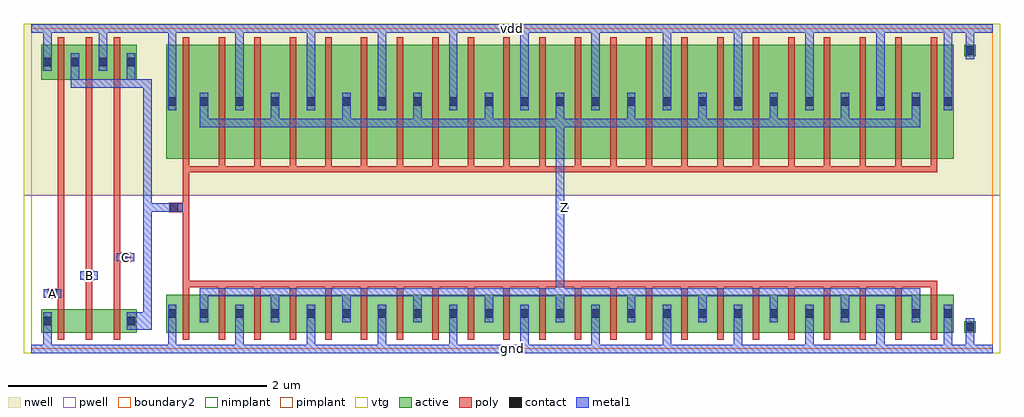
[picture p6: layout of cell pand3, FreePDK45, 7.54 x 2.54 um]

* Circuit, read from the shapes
.subckt pand3 A B C Z gnd vdd
M1 pnand3_0_0/nmos_m1_w0_180_sm1_dactive_3/D A gnd gnd nfet w=0.18u l=0.05u
M2 pnand3_0_0/nmos_m1_w0_180_sactive_dactive_4/D B pnand3_0_0/nmos_m1_w0_180_sm1_dactive_3/D gnd nfet w=0.18u l=0.05u
M3 pdriver_2_1/A C pnand3_0_0/nmos_m1_w0_180_sactive_dactive_4/D gnd nfet w=0.18u l=0.05u
M4 Z pdriver_2_1/A gnd gnd nfet w=0.295u l=0.05u m=22
M5 pdriver_2_1/A A vdd vdd pfet w=0.27u l=0.05u
M6 vdd B pdriver_2_1/A vdd pfet w=0.27u l=0.05u
M7 pdriver_2_1/A C vdd vdd pfet w=0.27u l=0.05u
M8 Z pdriver_2_1/A vdd vdd pfet w=0.8825u l=0.05u m=22
.ends

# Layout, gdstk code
import gdstk
lib = gdstk.Library(unit=1e-6, precision=5e-10)
def R(c, l, rs):  # rectangles x0, y0, x1, y1
    for r in rs: c.add(gdstk.rectangle(r[:2], r[2:], *l))
def A(c, l, x, y, w, h, nx, ny, dx, dy):  # array of equal rectangles
    R(c, l, [(x+i*dx, y+j*dy, x+i*dx+w, y+j*dy+h) for i in range(nx) for j in range(ny)])
active = (1, 0)
pwell = (2, 0)
nwell = (3, 0)
nimplant = (4, 0)
pimplant = (5, 0)
vtg = (6, 0)
poly = (9, 0)
contact = (10, 0)
metal1 = (11, 0)
boundary2 = (239, 0)

contact_10 = lib.new_cell('contact_10')
R(contact_10, active, [(0,0.0225,0.09,0.1125)])
R(contact_10, nwell, [(-0.055,-0.0325,0.145,0.1675)])
R(contact_10, pimplant, [(0,0.0225,0.09,0.1125)])
R(contact_10, contact, [(0.0125,0.035,0.0775,0.1)])
R(contact_10, metal1, [(0.0125,0,0.0775,0.135)])
R(contact_10, boundary2, [(-0.055,-0.0325,0.145,0.1675)])

pmos_m1_w0_270_sm1_dm1 = lib.new_cell('pmos_m1_w0_270_sm1_dm1')
R(pmos_m1_w0_270_sm1_dm1, active, [(0,0,0.305,0.27)])
R(pmos_m1_w0_270_sm1_dm1, nwell, [(-0.08,-0.08,0.385,0.35)])
R(pmos_m1_w0_270_sm1_dm1, pimplant, [(0,0,0.305,0.27)])
R(pmos_m1_w0_270_sm1_dm1, vtg, [(-0.08,-0.08,0.385,0.35)])
R(pmos_m1_w0_270_sm1_dm1, poly, [(0.1275,-0.055,0.1775,0.325), (0.1275,-0.055,0.1775,0.325)])
R(pmos_m1_w0_270_sm1_dm1, metal1, [(0.0125,0.0675,0.0775,0.2025), (0.2275,0.0675,0.2925,0.2025)])
R(pmos_m1_w0_270_sm1_dm1, boundary2, [(-0.08,-0.08,0.385,0.35)])
pmos_m1_w0_270_sm1_dm1.add(gdstk.Reference(contact_10, (0,0.0675)))
pmos_m1_w0_270_sm1_dm1.add(gdstk.Reference(contact_10, (0.215,0.0675)))
pmos_m1_w0_270_sm1_dm1.add(gdstk.Label('G', (0.1525,0.135), layer=9, texttype=0))
pmos_m1_w0_270_sm1_dm1.add(gdstk.Label('S', (0.045,0.135), layer=11, texttype=0))
pmos_m1_w0_270_sm1_dm1.add(gdstk.Label('D', (0.26,0.135), layer=11, texttype=0))

contact_9 = lib.new_cell('contact_9')
R(contact_9, active, [(0,0.0225,0.09,0.1125)])
R(contact_9, pwell, [(-0.055,-0.0325,0.145,0.1675)])
R(contact_9, nimplant, [(0,0.0225,0.09,0.1125)])
R(contact_9, contact, [(0.0125,0.035,0.0775,0.1)])
R(contact_9, metal1, [(0.0125,0,0.0775,0.135)])
R(contact_9, boundary2, [(-0.055,-0.0325,0.145,0.1675)])

nmos_m1_w0_180_sm1_dacti = lib.new_cell('nmos_m1_w0_180_sm1_dactive')
R(nmos_m1_w0_180_sm1_dacti, active, [(0,0,0.305,0.18), (0.215,0.045,0.305,0.135)])
R(nmos_m1_w0_180_sm1_dacti, pwell, [(-0.08,-0.08,0.385,0.26)])
R(nmos_m1_w0_180_sm1_dacti, nimplant, [(0,0,0.305,0.18)])
R(nmos_m1_w0_180_sm1_dacti, vtg, [(-0.08,-0.08,0.385,0.26)])
R(nmos_m1_w0_180_sm1_dacti, poly, [(0.1275,-0.055,0.1775,0.235), (0.1275,-0.055,0.1775,0.235)])
R(nmos_m1_w0_180_sm1_dacti, metal1, [(0.0125,0.0225,0.0775,0.1575)])
R(nmos_m1_w0_180_sm1_dacti, boundary2, [(-0.08,-0.08,0.385,0.26)])
nmos_m1_w0_180_sm1_dacti.add(gdstk.Reference(contact_9, (0,0.0225)))
nmos_m1_w0_180_sm1_dacti.add(gdstk.Label('G', (0.1525,0.09), layer=9, texttype=0))
nmos_m1_w0_180_sm1_dacti.add(gdstk.Label('S', (0.045,0.09), layer=11, texttype=0))
nmos_m1_w0_180_sm1_dacti.add(gdstk.Label('D', (0.26,0.09), layer=1, texttype=0))

nmos_m1_w0_180_sactive_d = lib.new_cell('nmos_m1_w0_180_sactive_dactive')
R(nmos_m1_w0_180_sactive_d, active, [(0,0,0.305,0.18), (0,0.045,0.09,0.135), (0.215,0.045,0.305,0.135)])
R(nmos_m1_w0_180_sactive_d, pwell, [(-0.08,-0.08,0.385,0.26)])
R(nmos_m1_w0_180_sactive_d, nimplant, [(0,0,0.305,0.18)])
R(nmos_m1_w0_180_sactive_d, vtg, [(-0.08,-0.08,0.385,0.26)])
R(nmos_m1_w0_180_sactive_d, poly, [(0.1275,-0.055,0.1775,0.235), (0.1275,-0.055,0.1775,0.235)])
R(nmos_m1_w0_180_sactive_d, boundary2, [(-0.08,-0.08,0.385,0.26)])
nmos_m1_w0_180_sactive_d.add(gdstk.Label('G', (0.1525,0.09), layer=9, texttype=0))
nmos_m1_w0_180_sactive_d.add(gdstk.Label('S', (0.045,0.09), layer=1, texttype=0))
nmos_m1_w0_180_sactive_d.add(gdstk.Label('D', (0.26,0.09), layer=1, texttype=0))

c_nmos_m1_w0_180_sactive_d = lib.new_cell('nmos_m1_w0_180_sactive_dm1')
R(c_nmos_m1_w0_180_sactive_d, active, [(0,0,0.305,0.18), (0,0.045,0.09,0.135)])
R(c_nmos_m1_w0_180_sactive_d, pwell, [(-0.08,-0.08,0.385,0.26)])
R(c_nmos_m1_w0_180_sactive_d, nimplant, [(0,0,0.305,0.18)])
R(c_nmos_m1_w0_180_sactive_d, vtg, [(-0.08,-0.08,0.385,0.26)])
R(c_nmos_m1_w0_180_sactive_d, poly, [(0.1275,-0.055,0.1775,0.235), (0.1275,-0.055,0.1775,0.235)])
R(c_nmos_m1_w0_180_sactive_d, metal1, [(0.2275,0.0225,0.2925,0.1575)])
R(c_nmos_m1_w0_180_sactive_d, boundary2, [(-0.08,-0.08,0.385,0.26)])
c_nmos_m1_w0_180_sactive_d.add(gdstk.Reference(contact_9, (0.215,0.0225)))
c_nmos_m1_w0_180_sactive_d.add(gdstk.Label('G', (0.1525,0.09), layer=9, texttype=0))
c_nmos_m1_w0_180_sactive_d.add(gdstk.Label('S', (0.045,0.09), layer=1, texttype=0))
c_nmos_m1_w0_180_sactive_d.add(gdstk.Label('D', (0.26,0.09), layer=11, texttype=0))

contact_13 = lib.new_cell('contact_13')
R(contact_13, poly, [(0.03,0,0.105,0.075)])
R(contact_13, contact, [(0.035,0.005,0.1,0.07)])
R(contact_13, metal1, [(0,0.005,0.135,0.07)])
R(contact_13, boundary2, [(0,0,0.135,0.075)])

pnand3_0 = lib.new_cell('pnand3_0')
R(pnand3_0, pwell, [(-0.055,-0.0325,1.02,1.1875)])
R(pnand3_0, nwell, [(-0.055,1.1875,1.02,2.51)])
R(pnand3_0, vtg, [(-0.055,-0.0325,1.02,1.1875), (-0.055,1.1875,1.02,2.51)])
A(pnand3_0, poly, 0.2075, 0.36, 0.05, 1.665, 3, 1, 0.215, 0)
R(pnand3_0, poly, [(0.165,0.39,0.2075,0.465), (0.4225,0.53,0.4475,0.605), (0.6375,0.67,0.73,0.745)])
R(pnand3_0, metal1, [(0,-0.0325,0.965,0.0325), (0.0925,-0.0325,0.1575,0.1475), (0.77,0.1475,0.9,0.2825), (0.8675,0.1475,0.9325,2.05), (0.0975,0.395,0.2325,0.46), (0.38,0.535,0.515,0.6), (0.6625,0.675,0.7975,0.74), (0.3075,2.0175,0.3725,2.0825), (0.34,2.0175,0.9,2.0825), (0.7375,2.0175,0.8025,2.0825), (0.77,2.0175,0.9,2.0825), (0.8675,2.0175,0.9325,2.0825), (0.3075,2.05,0.3725,2.215), (0.7375,2.05,0.8025,2.215), (0.0925,2.1475,0.1575,2.5075), (0.5225,2.1475,0.5875,2.5075), (0,2.4425,0.965,2.5075)])
R(pnand3_0, boundary2, [(0,0,0.965,2.475), (0,0,0.965,2.475)])
pnand3_0.add(gdstk.Reference(pmos_m1_w0_270_sm1_dm1, (0.08,2.08)))
pnand3_0.add(gdstk.Reference(pmos_m1_w0_270_sm1_dm1, (0.295,2.08)))
pnand3_0.add(gdstk.Reference(pmos_m1_w0_270_sm1_dm1, (0.51,2.08)))
pnand3_0.add(gdstk.Reference(nmos_m1_w0_180_sm1_dacti, (0.08,0.125)))
pnand3_0.add(gdstk.Reference(nmos_m1_w0_180_sactive_d, (0.295,0.125)))
pnand3_0.add(gdstk.Reference(c_nmos_m1_w0_180_sactive_d, (0.51,0.125)))
pnand3_0.add(gdstk.Reference(contact_13, (0.0975,0.39)))
pnand3_0.add(gdstk.Reference(contact_13, (0.38,0.53)))
pnand3_0.add(gdstk.Reference(contact_13, (0.6625,0.67)))
pnand3_0.add(gdstk.Label('A', (0.165,0.4275), layer=11, texttype=0))
pnand3_0.add(gdstk.Label('B', (0.4475,0.5675), layer=11, texttype=0))
pnand3_0.add(gdstk.Label('C', (0.73,0.7075), layer=11, texttype=0))
pnand3_0.add(gdstk.Label('Z', (0.9,2.05), layer=11, texttype=0))
pnand3_0.add(gdstk.Label('gnd', (0.4825,0), layer=11, texttype=0))
pnand3_0.add(gdstk.Label('vdd', (0.4825,2.475), layer=11, texttype=0))

pmos_m22_w0_883_sm1_dm1_ = lib.new_cell('pmos_m22_w0_883_sm1_dm1_da_p')
R(pmos_m22_w0_883_sm1_dm1_, active, [(0,0,6.08,0.8825)])
R(pmos_m22_w0_883_sm1_dm1_, nwell, [(-0.08,-0.08,6.16,0.9625)])
R(pmos_m22_w0_883_sm1_dm1_, pimplant, [(0,0,6.08,0.8825)])
R(pmos_m22_w0_883_sm1_dm1_, vtg, [(-0.08,-0.08,6.16,0.9625)])
A(pmos_m22_w0_883_sm1_dm1_, poly, 0.1275, -0.055, 0.05, 0.9925, 22, 1, 0.275, 0)
R(pmos_m22_w0_883_sm1_dm1_, poly, [(0.1275,-0.105,5.9525,-0.055)])
A(pmos_m22_w0_883_sm1_dm1_, metal1, 0.2575, 0.275, 0.065, 0.165, 11, 1, 0.55, 0)
A(pmos_m22_w0_883_sm1_dm1_, metal1, 0.5325, 0.375, 0.065, 0.135, 10, 1, 0.55, 0)
R(pmos_m22_w0_883_sm1_dm1_, metal1, [(0.2575,0.245,5.8225,0.31), (0.0125,0.375,0.0775,0.51), (6.0025,0.375,6.0675,0.51)])
R(pmos_m22_w0_883_sm1_dm1_, boundary2, [(-0.08,-0.08,6.16,0.9625)])
pmos_m22_w0_883_sm1_dm1_.add(gdstk.Reference(contact_10, (0,0.375)))
pmos_m22_w0_883_sm1_dm1_.add(gdstk.Reference(contact_10, (0.245,0.375)))
pmos_m22_w0_883_sm1_dm1_.add(gdstk.Reference(contact_10, (0.52,0.375)))
pmos_m22_w0_883_sm1_dm1_.add(gdstk.Reference(contact_10, (0.795,0.375)))
pmos_m22_w0_883_sm1_dm1_.add(gdstk.Reference(contact_10, (1.07,0.375)))
pmos_m22_w0_883_sm1_dm1_.add(gdstk.Reference(contact_10, (1.345,0.375)))
pmos_m22_w0_883_sm1_dm1_.add(gdstk.Reference(contact_10, (1.62,0.375)))
pmos_m22_w0_883_sm1_dm1_.add(gdstk.Reference(contact_10, (1.895,0.375)))
pmos_m22_w0_883_sm1_dm1_.add(gdstk.Reference(contact_10, (2.17,0.375)))
pmos_m22_w0_883_sm1_dm1_.add(gdstk.Reference(contact_10, (2.445,0.375)))
pmos_m22_w0_883_sm1_dm1_.add(gdstk.Reference(contact_10, (2.72,0.375)))
pmos_m22_w0_883_sm1_dm1_.add(gdstk.Reference(contact_10, (2.995,0.375)))
pmos_m22_w0_883_sm1_dm1_.add(gdstk.Reference(contact_10, (3.27,0.375)))
pmos_m22_w0_883_sm1_dm1_.add(gdstk.Reference(contact_10, (3.545,0.375)))
pmos_m22_w0_883_sm1_dm1_.add(gdstk.Reference(contact_10, (3.82,0.375)))
pmos_m22_w0_883_sm1_dm1_.add(gdstk.Reference(contact_10, (4.095,0.375)))
pmos_m22_w0_883_sm1_dm1_.add(gdstk.Reference(contact_10, (4.37,0.375)))
pmos_m22_w0_883_sm1_dm1_.add(gdstk.Reference(contact_10, (4.645,0.375)))
pmos_m22_w0_883_sm1_dm1_.add(gdstk.Reference(contact_10, (4.92,0.375)))
pmos_m22_w0_883_sm1_dm1_.add(gdstk.Reference(contact_10, (5.195,0.375)))
pmos_m22_w0_883_sm1_dm1_.add(gdstk.Reference(contact_10, (5.47,0.375)))
pmos_m22_w0_883_sm1_dm1_.add(gdstk.Reference(contact_10, (5.745,0.375)))
pmos_m22_w0_883_sm1_dm1_.add(gdstk.Reference(contact_10, (5.99,0.375)))
pmos_m22_w0_883_sm1_dm1_.add(gdstk.Label('G', (3.04,-0.08), layer=9, texttype=0))
pmos_m22_w0_883_sm1_dm1_.add(gdstk.Label('S', (1.665,0.4425), layer=11, texttype=0))
pmos_m22_w0_883_sm1_dm1_.add(gdstk.Label('S', (2.765,0.4425), layer=11, texttype=0))
pmos_m22_w0_883_sm1_dm1_.add(gdstk.Label('S', (5.515,0.4425), layer=11, texttype=0))
pmos_m22_w0_883_sm1_dm1_.add(gdstk.Label('S', (4.965,0.4425), layer=11, texttype=0))
pmos_m22_w0_883_sm1_dm1_.add(gdstk.Label('S', (3.865,0.4425), layer=11, texttype=0))
pmos_m22_w0_883_sm1_dm1_.add(gdstk.Label('S', (0.045,0.4425), layer=11, texttype=0))
pmos_m22_w0_883_sm1_dm1_.add(gdstk.Label('S', (6.035,0.4425), layer=11, texttype=0))
pmos_m22_w0_883_sm1_dm1_.add(gdstk.Label('S', (3.315,0.4425), layer=11, texttype=0))
pmos_m22_w0_883_sm1_dm1_.add(gdstk.Label('S', (2.215,0.4425), layer=11, texttype=0))
pmos_m22_w0_883_sm1_dm1_.add(gdstk.Label('S', (4.415,0.4425), layer=11, texttype=0))
pmos_m22_w0_883_sm1_dm1_.add(gdstk.Label('S', (0.565,0.4425), layer=11, texttype=0))
pmos_m22_w0_883_sm1_dm1_.add(gdstk.Label('S', (1.115,0.4425), layer=11, texttype=0))
pmos_m22_w0_883_sm1_dm1_.add(gdstk.Label('D', (3.04,0.2775), layer=11, texttype=0))

nmos_m22_w0_295_sm1_dm1_ = lib.new_cell('nmos_m22_w0_295_sm1_dm1_da_p')
R(nmos_m22_w0_295_sm1_dm1_, active, [(0,0,6.08,0.295)])
R(nmos_m22_w0_295_sm1_dm1_, pwell, [(-0.08,-0.08,6.16,0.375)])
R(nmos_m22_w0_295_sm1_dm1_, nimplant, [(0,0,6.08,0.295)])
R(nmos_m22_w0_295_sm1_dm1_, vtg, [(-0.08,-0.08,6.16,0.375)])
A(nmos_m22_w0_295_sm1_dm1_, poly, 0.1275, -0.055, 0.05, 0.405, 22, 1, 0.275, 0)
R(nmos_m22_w0_295_sm1_dm1_, poly, [(0.1275,0.35,5.9525,0.4)])
A(nmos_m22_w0_295_sm1_dm1_, metal1, 0.5325, 0.08, 0.065, 0.135, 10, 1, 0.55, 0)
A(nmos_m22_w0_295_sm1_dm1_, metal1, 0.2575, 0.1475, 0.065, 0.165, 11, 1, 0.55, 0)
R(nmos_m22_w0_295_sm1_dm1_, metal1, [(0.0125,0.08,0.0775,0.215), (6.0025,0.08,6.0675,0.215), (0.2575,0.28,5.8225,0.345)])
R(nmos_m22_w0_295_sm1_dm1_, boundary2, [(-0.08,-0.08,6.16,0.375)])
nmos_m22_w0_295_sm1_dm1_.add(gdstk.Reference(contact_9, (0,0.08)))
nmos_m22_w0_295_sm1_dm1_.add(gdstk.Reference(contact_9, (0.245,0.08)))
nmos_m22_w0_295_sm1_dm1_.add(gdstk.Reference(contact_9, (0.52,0.08)))
nmos_m22_w0_295_sm1_dm1_.add(gdstk.Reference(contact_9, (0.795,0.08)))
nmos_m22_w0_295_sm1_dm1_.add(gdstk.Reference(contact_9, (1.07,0.08)))
nmos_m22_w0_295_sm1_dm1_.add(gdstk.Reference(contact_9, (1.345,0.08)))
nmos_m22_w0_295_sm1_dm1_.add(gdstk.Reference(contact_9, (1.62,0.08)))
nmos_m22_w0_295_sm1_dm1_.add(gdstk.Reference(contact_9, (1.895,0.08)))
nmos_m22_w0_295_sm1_dm1_.add(gdstk.Reference(contact_9, (2.17,0.08)))
nmos_m22_w0_295_sm1_dm1_.add(gdstk.Reference(contact_9, (2.445,0.08)))
nmos_m22_w0_295_sm1_dm1_.add(gdstk.Reference(contact_9, (2.72,0.08)))
nmos_m22_w0_295_sm1_dm1_.add(gdstk.Reference(contact_9, (2.995,0.08)))
nmos_m22_w0_295_sm1_dm1_.add(gdstk.Reference(contact_9, (3.27,0.08)))
nmos_m22_w0_295_sm1_dm1_.add(gdstk.Reference(contact_9, (3.545,0.08)))
nmos_m22_w0_295_sm1_dm1_.add(gdstk.Reference(contact_9, (3.82,0.08)))
nmos_m22_w0_295_sm1_dm1_.add(gdstk.Reference(contact_9, (4.095,0.08)))
nmos_m22_w0_295_sm1_dm1_.add(gdstk.Reference(contact_9, (4.37,0.08)))
nmos_m22_w0_295_sm1_dm1_.add(gdstk.Reference(contact_9, (4.645,0.08)))
nmos_m22_w0_295_sm1_dm1_.add(gdstk.Reference(contact_9, (4.92,0.08)))
nmos_m22_w0_295_sm1_dm1_.add(gdstk.Reference(contact_9, (5.195,0.08)))
nmos_m22_w0_295_sm1_dm1_.add(gdstk.Reference(contact_9, (5.47,0.08)))
nmos_m22_w0_295_sm1_dm1_.add(gdstk.Reference(contact_9, (5.745,0.08)))
nmos_m22_w0_295_sm1_dm1_.add(gdstk.Reference(contact_9, (5.99,0.08)))
nmos_m22_w0_295_sm1_dm1_.add(gdstk.Label('G', (3.04,0.375), layer=9, texttype=0))
nmos_m22_w0_295_sm1_dm1_.add(gdstk.Label('S', (5.515,0.1475), layer=11, texttype=0))
nmos_m22_w0_295_sm1_dm1_.add(gdstk.Label('S', (2.215,0.1475), layer=11, texttype=0))
nmos_m22_w0_295_sm1_dm1_.add(gdstk.Label('S', (3.315,0.1475), layer=11, texttype=0))
nmos_m22_w0_295_sm1_dm1_.add(gdstk.Label('S', (4.415,0.1475), layer=11, texttype=0))
nmos_m22_w0_295_sm1_dm1_.add(gdstk.Label('S', (0.565,0.1475), layer=11, texttype=0))
nmos_m22_w0_295_sm1_dm1_.add(gdstk.Label('S', (0.045,0.1475), layer=11, texttype=0))
nmos_m22_w0_295_sm1_dm1_.add(gdstk.Label('S', (1.665,0.1475), layer=11, texttype=0))
nmos_m22_w0_295_sm1_dm1_.add(gdstk.Label('S', (3.865,0.1475), layer=11, texttype=0))
nmos_m22_w0_295_sm1_dm1_.add(gdstk.Label('S', (6.035,0.1475), layer=11, texttype=0))
nmos_m22_w0_295_sm1_dm1_.add(gdstk.Label('S', (4.965,0.1475), layer=11, texttype=0))
nmos_m22_w0_295_sm1_dm1_.add(gdstk.Label('S', (2.765,0.1475), layer=11, texttype=0))
nmos_m22_w0_295_sm1_dm1_.add(gdstk.Label('S', (1.115,0.1475), layer=11, texttype=0))
nmos_m22_w0_295_sm1_dm1_.add(gdstk.Label('D', (3.04,0.3125), layer=11, texttype=0))

contact_11 = lib.new_cell('contact_11')
R(contact_11, active, [(0,0.0225,0.09,0.1125)])
R(contact_11, nwell, [(-0.055,-0.0325,0.145,0.1675)])
R(contact_11, nimplant, [(0,0.0225,0.09,0.1125)])
R(contact_11, contact, [(0.0125,0.035,0.0775,0.1)])
R(contact_11, metal1, [(0.0125,0,0.0775,0.135)])
R(contact_11, boundary2, [(-0.055,-0.0325,0.145,0.1675)])

contact_12 = lib.new_cell('contact_12')
R(contact_12, active, [(0,0.0225,0.09,0.1125)])
R(contact_12, pwell, [(-0.055,-0.0325,0.145,0.1675)])
R(contact_12, pimplant, [(0,0.0225,0.09,0.1125)])
R(contact_12, contact, [(0.0125,0.035,0.0775,0.1)])
R(contact_12, metal1, [(0.0125,0,0.0775,0.135)])
R(contact_12, boundary2, [(-0.055,-0.0325,0.145,0.1675)])

pinv_17 = lib.new_cell('pinv_17')
R(pinv_17, pwell, [(-0.055,-0.0325,6.5175,1.1875)])
R(pinv_17, nwell, [(-0.055,1.1875,6.5175,2.51)])
R(pinv_17, vtg, [(-0.055,-0.0325,6.5175,1.1875), (-0.055,1.1875,6.5175,2.51)])
R(pinv_17, poly, [(0.2075,0.525,0.2575,1.3625), (0.14,1.055,0.2075,1.13)])
A(pinv_17, metal1, 0.6125, -0.0325, 0.065, 0.2375, 10, 1, 0.55, 0)
A(pinv_17, metal1, 0.6125, 1.8425, 0.065, 0.665, 10, 1, 0.55, 0)
R(pinv_17, metal1, [(0,-0.0325,6.4625,0.0325), (0.0925,-0.0325,0.1575,0.205), (6.0825,-0.0325,6.1475,0.205), (6.2525,0,6.3175,0.17), (3.0875,0.405,3.1525,1.7775), (0.0725,1.06,0.2075,1.125), (3.12,1.06,3.185,1.125), (0.0925,1.8425,0.1575,2.5075), (6.0825,1.8425,6.1475,2.5075), (6.2525,2.305,6.3175,2.475), (0,2.4425,6.4625,2.5075)])
R(pinv_17, boundary2, [(0,0,6.4625,2.475), (0,0,6.4625,2.475)])
pinv_17.add(gdstk.Reference(pmos_m22_w0_883_sm1_dm1_, (0.08,1.4675)))
pinv_17.add(gdstk.Reference(nmos_m22_w0_295_sm1_dm1_, (0.08,0.125)))
pinv_17.add(gdstk.Reference(contact_11, (6.24,2.2375)))
pinv_17.add(gdstk.Reference(contact_12, (6.24,0.1025)))
pinv_17.add(gdstk.Reference(contact_13, (0.0725,1.055)))
pinv_17.add(gdstk.Label('A', (0.14,1.0925), layer=11, texttype=0))
pinv_17.add(gdstk.Label('Z', (3.1525,1.0925), layer=11, texttype=0))
pinv_17.add(gdstk.Label('gnd', (3.231,0), layer=11, texttype=0))
pinv_17.add(gdstk.Label('vdd', (3.231,2.475), layer=11, texttype=0))

pdriver_2 = lib.new_cell('pdriver_2')
R(pdriver_2, pwell, [(-0.055,-0.0325,6.5175,1.1875)])
R(pdriver_2, nwell, [(-0.055,1.1875,6.5175,2.51)])
R(pdriver_2, vtg, [(-0.055,-0.0325,6.5175,1.1875), (-0.055,1.1875,6.5175,2.51)])
R(pdriver_2, metal1, [(0,-0.0325,6.4625,0.0325), (0.0725,1.06,0.2075,1.125), (3.12,1.06,3.185,1.125), (0,2.4425,6.4625,2.5075)])
R(pdriver_2, boundary2, [(0,0,6.4625,2.475), (0,0,6.4625,2.475)])
pdriver_2.add(gdstk.Reference(pinv_17, (0,0)))
pdriver_2.add(gdstk.Label('Z', (3.1525,1.0925), layer=11, texttype=0))
pdriver_2.add(gdstk.Label('A', (0.14,1.0925), layer=11, texttype=0))
pdriver_2.add(gdstk.Label('gnd', (3.231,0), layer=11, texttype=0))
pdriver_2.add(gdstk.Label('vdd', (3.231,2.475), layer=11, texttype=0))

pand3 = lib.new_cell('pand3')
R(pand3, metal1, [(0,-0.0325,7.4275,0.0325), (0.0975,0.395,0.2325,0.46), (0.38,0.535,0.515,0.6), (0.6625,0.675,0.7975,0.74), (0.8675,1.06,0.9325,1.125), (0.9,1.06,1.105,1.125), (4.085,1.06,4.15,1.125), (0.8675,1.0925,0.9325,2.05), (0,2.4425,7.4275,2.5075)])
R(pand3, boundary2, [(0,0,7.4275,2.475), (0,0,7.4275,2.475)])
pand3.add(gdstk.Reference(pnand3_0, (0,0)))
pand3.add(gdstk.Reference(pdriver_2, (0.965,0)))
pand3.add(gdstk.Label('Z', (4.1175,1.0925), layer=11, texttype=0))
pand3.add(gdstk.Label('A', (0.165,0.4275), layer=11, texttype=0))
pand3.add(gdstk.Label('B', (0.4475,0.5675), layer=11, texttype=0))
pand3.add(gdstk.Label('C', (0.73,0.7075), layer=11, texttype=0))
pand3.add(gdstk.Label('gnd', (3.714,0), layer=11, texttype=0))
pand3.add(gdstk.Label('vdd', (3.714,2.475), layer=11, texttype=0))

lib.write_gds('pand3.gds')
